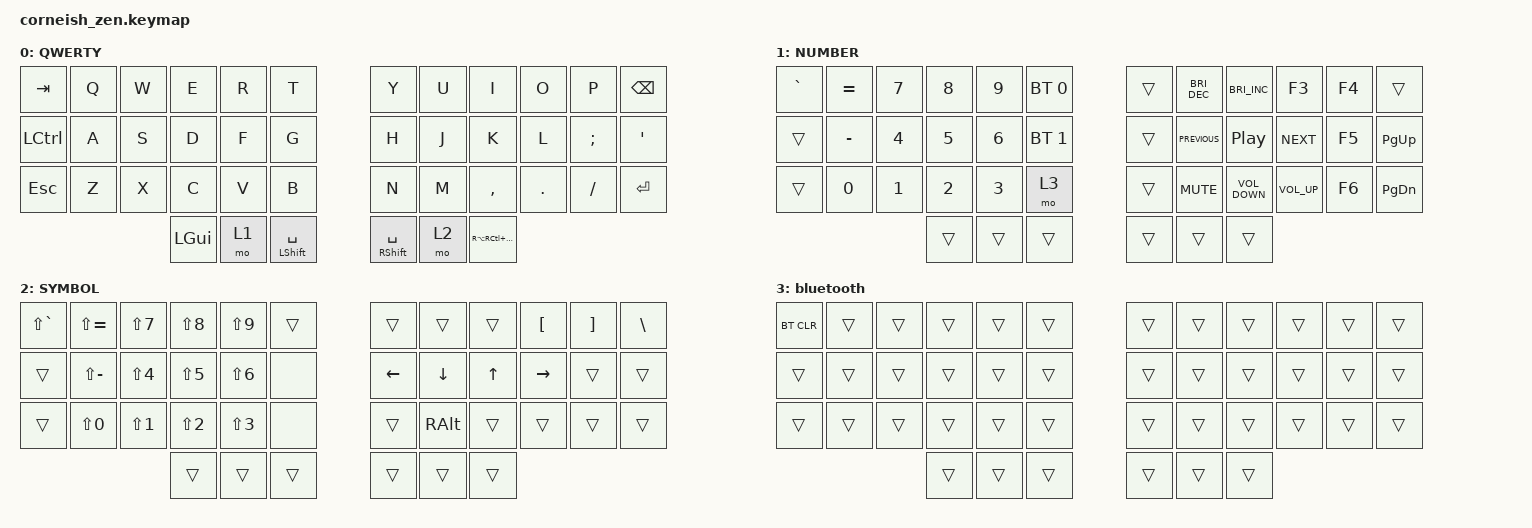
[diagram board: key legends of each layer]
/*
*
* Copyright (c) 2021 Darryl deHaan
* SPDX-License-Identifier: MIT
*
*/

#include <behaviors.dtsi>
#include <dt-bindings/zmk/bt.h>
#include <dt-bindings/zmk/keys.h>

/ {
    chosen {
        zmk,matrix_transform = &default_transform;

        // zmk,matrix_transform = &five_column_transform;
    };
};

/ {
    keymap {
        compatible = "zmk,keymap";

        default_layer {
            display-name = "QWERTY";
            bindings = <
&kp TAB           &kp Q  &kp W  &kp E         &kp R  &kp T                   &kp Y                  &kp U  &kp I                  &kp O    &kp P     &kp BSPC
&kp LEFT_CONTROL  &kp A  &kp S  &kp D         &kp F  &kp G                   &kp H                  &kp J  &kp K                  &kp L    &kp SEMI  &kp SQT
&kp ESCAPE        &kp Z  &kp X  &kp C         &kp V  &kp B                   &kp N                  &kp M  &kp COMMA              &kp DOT  &kp FSLH  &kp RETURN
                                &kp LEFT_GUI  &mo 1  &mt LEFT_SHIFT SPACE    &mt RIGHT_SHIFT SPACE  &mo 2  &kp RA(RC(RIGHT_GUI))
            >;
        };

        lower_layer {
            display-name = "NUMBER";
            bindings = <
&kp GRAVE  &kp EQUAL  &kp N7        &kp N8        &kp N9        &bt BT_SEL 0    &trans  &kp C_BRI_DEC   &kp C_BRIGHTNESS_INC  &kp F3           &kp F4  &trans
&trans     &kp MINUS  &kp NUMBER_4  &kp N5        &kp NUMBER_6  &bt BT_SEL 1    &trans  &kp C_PREVIOUS  &kp C_PP              &kp C_NEXT       &kp F5  &kp PAGE_UP
&trans     &kp N0     &kp NUMBER_1  &kp NUMBER_2  &kp NUMBER_3  &mo 3           &trans  &kp C_MUTE      &kp C_VOLUME_DOWN     &kp C_VOLUME_UP  &kp F6  &kp PAGE_DOWN
                                    &trans        &trans        &trans          &trans  &trans          &trans
            >;
        };

        raise_layer {
            display-name = "SYMBOL";
            bindings = <
&kp LS(GRAVE)  &kp LS(EQUAL)  &kp LS(N7)        &kp LS(N8)        &kp LS(N9)        &trans    &trans    &trans         &trans  &kp LEFT_BRACKET  &kp RIGHT_BRACKET  &kp BACKSLASH
&trans         &kp LS(MINUS)  &kp LS(NUMBER_4)  &kp LS(N5)        &kp LS(NUMBER_6)  &none     &kp LEFT  &kp DOWN       &kp UP  &kp RIGHT         &trans             &trans
&trans         &kp LS(N0)     &kp LS(NUMBER_1)  &kp LS(NUMBER_2)  &kp LS(NUMBER_3)  &none     &trans    &kp RIGHT_ALT  &trans  &trans            &trans             &trans
                                                &trans            &trans            &trans    &trans    &trans         &trans
            >;
        };

        bluetooth {
            bindings = <
&bt BT_CLR  &trans  &trans  &trans  &trans  &trans    &trans  &trans  &trans  &trans  &trans  &trans
&trans      &trans  &trans  &trans  &trans  &trans    &trans  &trans  &trans  &trans  &trans  &trans
&trans      &trans  &trans  &trans  &trans  &trans    &trans  &trans  &trans  &trans  &trans  &trans
                            &trans  &trans  &trans    &trans  &trans  &trans
            >;
        };
    };
};
